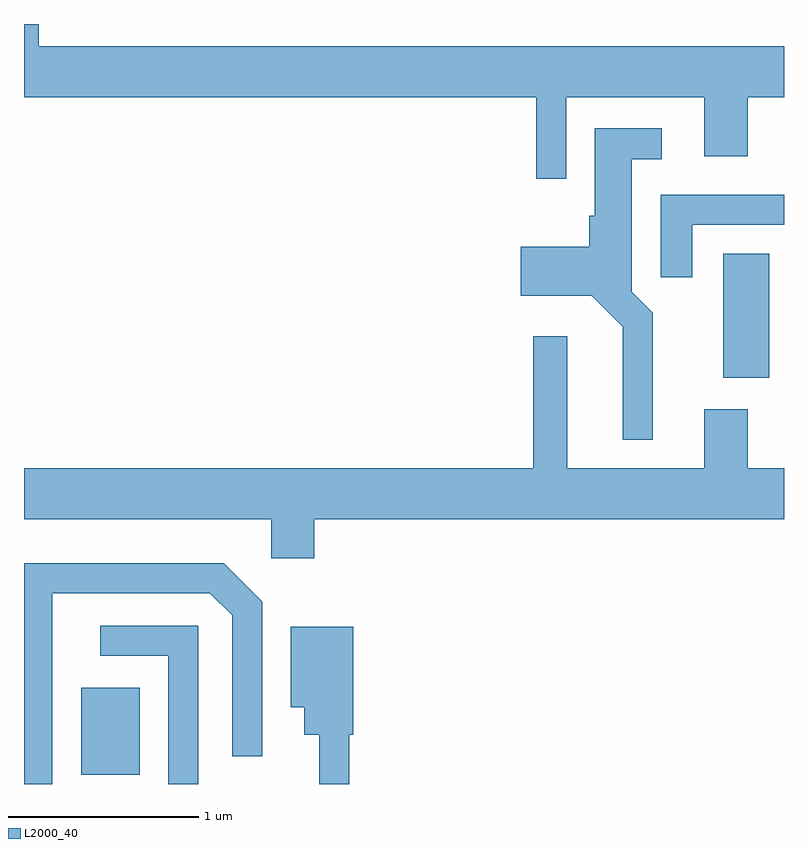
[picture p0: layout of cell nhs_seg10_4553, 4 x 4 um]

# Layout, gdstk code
import gdstk
lib = gdstk.Library(unit=1e-6, precision=1e-09)
def R(c, l, rs):  # rectangles x0, y0, x1, y1
    for r in rs: c.add(gdstk.rectangle(r[:2], r[2:], *l))
def P(c, l, *ps):  # polygons
    for p in ps: c.add(gdstk.Polygon(p, *l))
L2000_40 = (2000, 40)

nhs_seg10_4553 = lib.new_cell('nhs_seg10_4553')
R(nhs_seg10_4553, L2000_40, [(319.911,2112.571,320.219,2113.029), (323.291,2114.661,323.534,2115.314)])
P(nhs_seg10_4553, L2000_40, [(322.464,2116.136),(323.191,2116.136),(323.191,2115.826),(323.419,2115.826),(323.419,2116.136),(323.611,2116.136),(323.611,2116.404),(319.689,2116.404),(319.689,2116.522),(319.611,2116.522),(319.611,2116.136),(322.306,2116.136),(322.306,2115.708),(322.464,2115.708)],
  [(322.919,2115.002),(322.809,2115.112),(322.809,2115.811),(322.968,2115.811),(322.968,2115.974),(322.616,2115.974),(322.616,2115.514),(322.586,2115.514),(322.586,2115.349),(322.226,2115.349),(322.226,2115.091),(322.599,2115.091),(322.761,2114.929),(322.761,2114.333),(322.919,2114.333)],
  [(323.129,2115.466),(323.611,2115.466),(323.611,2115.624),(322.961,2115.624),(322.961,2115.188),(323.129,2115.188)],
  [(321.139,2113.916),(323.611,2113.916),(323.611,2114.184),(323.419,2114.184),(323.419,2114.494),(323.191,2114.494),(323.191,2114.184),(322.469,2114.184),(322.469,2114.879),(322.291,2114.879),(322.291,2114.184),(319.611,2114.184),(319.611,2113.916),(320.911,2113.916),(320.911,2113.711),(321.139,2113.711)],
  [(319.759,2113.526),(320.589,2113.526),(320.706,2113.409),(320.706,2112.668),(320.864,2112.668),(320.864,2113.482),(320.662,2113.684),(319.611,2113.684),(319.611,2112.522),(319.759,2112.522)],
  [(320.529,2113.354),(320.013,2113.354),(320.013,2113.196),(320.371,2113.196),(320.371,2112.522),(320.529,2112.522)],
  [(321.324,2112.781),(321.344,2112.781),(321.344,2113.349),(321.016,2113.349),(321.016,2112.926),(321.086,2112.926),(321.086,2112.781),(321.166,2112.781),(321.166,2112.522),(321.324,2112.522)])

lib.write_gds('nhs_seg10_4553.gds')
